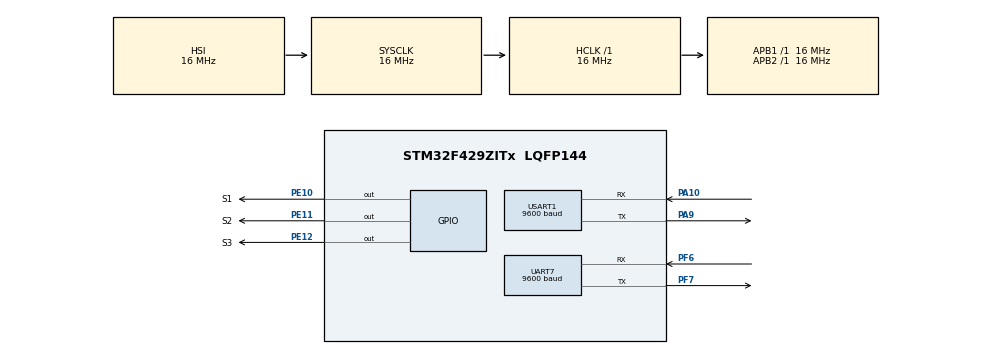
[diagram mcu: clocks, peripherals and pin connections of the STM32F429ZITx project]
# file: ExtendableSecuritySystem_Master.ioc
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Dma.Request0=USART1_RX
Dma.Request1=UART7_RX
Dma.UART7_RX.1.Direction=DMA_PERIPH_TO_MEMORY
Dma.UART7_RX.1.FIFOMode=DMA_FIFOMODE_DISABLE
Dma.UART7_RX.1.Instance=DMA1_Stream3
Dma.UART7_RX.1.MemDataAlignment=DMA_MDATAALIGN_BYTE
Dma.UART7_RX.1.MemInc=DMA_MINC_ENABLE
Dma.UART7_RX.1.Mode=DMA_CIRCULAR
Dma.UART7_RX.1.PeriphDataAlignment=DMA_PDATAALIGN_BYTE
Dma.UART7_RX.1.PeriphInc=DMA_PINC_DISABLE
Dma.UART7_RX.1.Priority=DMA_PRIORITY_LOW
Dma.USART1_RX.0.Direction=DMA_PERIPH_TO_MEMORY
Dma.USART1_RX.0.FIFOMode=DMA_FIFOMODE_DISABLE
Dma.USART1_RX.0.Instance=DMA2_Stream2
Dma.USART1_RX.0.MemDataAlignment=DMA_MDATAALIGN_BYTE
Dma.USART1_RX.0.MemInc=DMA_MINC_ENABLE
Dma.USART1_RX.0.Mode=DMA_CIRCULAR
Dma.USART1_RX.0.PeriphDataAlignment=DMA_PDATAALIGN_BYTE
Dma.USART1_RX.0.PeriphInc=DMA_PINC_DISABLE
Dma.USART1_RX.0.Priority=DMA_PRIORITY_LOW
Mcu.Family=STM32F4
Mcu.Name=STM32F429ZITx
Mcu.Package=LQFP144
NVIC.DMA1_Stream3_IRQn=true\:0\:0\:false\:false\:true\:false
NVIC.DMA2_Stream2_IRQn=true\:0\:0\:false\:false\:true\:false
NVIC.PriorityGroup=NVIC_PRIORITYGROUP_4
PA10.Mode=Asynchronous
PA10.Signal=USART1_RX
PA13.Mode=Serial_Wire
PA13.Signal=SYS_JTMS-SWDIO
PA14.Mode=Serial_Wire
PA14.Signal=SYS_JTCK-SWCLK
PA9.Mode=Asynchronous
PA9.Signal=USART1_TX
PE10.GPIO_Label=S1
PE10.GPIO_ModeDefaultOutputPP=GPIO_MODE_OUTPUT_PP
PE10.GPIO_PuPd=GPIO_NOPULL
PE10.GPIO_Speed=GPIO_SPEED_FREQ_LOW
PE10.PinState=GPIO_PIN_SET
PE10.Signal=GPIO_Output
PE11.GPIO_Label=S2
PE11.GPIO_ModeDefaultOutputPP=GPIO_MODE_OUTPUT_PP
PE11.GPIO_PuPd=GPIO_NOPULL
PE11.GPIO_Speed=GPIO_SPEED_FREQ_LOW
PE11.PinState=GPIO_PIN_SET
PE11.Signal=GPIO_Output
PE12.GPIO_Label=S3
PE12.GPIO_ModeDefaultOutputPP=GPIO_MODE_OUTPUT_PP
PE12.GPIO_PuPd=GPIO_NOPULL
PE12.GPIO_Speed=GPIO_SPEED_FREQ_LOW
PE12.PinState=GPIO_PIN_SET
PE12.Signal=GPIO_Output
PF6.Mode=Asynchronous
PF6.Signal=UART7_RX
PF7.Mode=Asynchronous
PF7.Signal=UART7_TX
PH0/OSC_IN.Mode=HSE-External-Oscillator
PH0/OSC_IN.Signal=RCC_OSC_IN
PH1/OSC_OUT.Mode=HSE-External-Oscillator
PH1/OSC_OUT.Signal=RCC_OSC_OUT
ProjectManager.HeapSize=0x200
ProjectManager.StackSize=0x400
ProjectManager.TargetToolchain=SW4STM32
RCC.48MHZClocksFreq_Value=48000000
RCC.AHBFreq_Value=16000000
RCC.APB1Freq_Value=16000000
RCC.APB1TimFreq_Value=16000000
RCC.APB2Freq_Value=16000000
RCC.APB2TimFreq_Value=16000000
RCC.CortexFreq_Value=16000000
RCC.HCLKFreq_Value=16000000
RCC.HSE_VALUE=25000000
RCC.HSI_VALUE=16000000
RCC.LSE_VALUE=32768
RCC.SYSCLKFreq_VALUE=16000000
RCC.VCOOutputFreq_Value=192000000
UART7.BaudRate=9600
UART7.VirtualMode=Asynchronous
USART1.BaudRate=9600
USART1.VirtualMode=VM_ASYNC
board=custom

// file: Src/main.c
/* USER CODE BEGIN Header */
/**
  ******************************************************************************
  * @file           : main.c
  * @brief          : Main program body
  ******************************************************************************
  ** This notice applies to any and all portions of this file
  * that are not between comment pairs USER CODE BEGIN and
  * USER CODE END. Other portions of this file, whether
  * inserted by the user or by software development tools
  * are owned by their respective copyright owners.
  *
  * COPYRIGHT(c) 2018 STMicroelectronics
  *
  * Redistribution and use in source and binary forms, with or without modification,
  * are permitted provided that the following conditions are met:
  *   1. Redistributions of source code must retain the above copyright notice,
  *      this list of conditions and the following disclaimer.
  *   2. Redistributions in binary form must reproduce the above copyright notice,
  *      this list of conditions and the following disclaimer in the documentation
  *      and/or other materials provided with the distribution.
  *   3. Neither the name of STMicroelectronics nor the names of its contributors
  *      may be used to endorse or promote products derived from this software
  *      without specific prior written permission.
  *
  * THIS SOFTWARE IS PROVIDED BY THE COPYRIGHT HOLDERS AND CONTRIBUTORS "AS IS"
  * AND ANY EXPRESS OR IMPLIED WARRANTIES, INCLUDING, BUT NOT LIMITED TO, THE
  * IMPLIED WARRANTIES OF MERCHANTABILITY AND FITNESS FOR A PARTICULAR PURPOSE ARE
  * DISCLAIMED. IN NO EVENT SHALL THE COPYRIGHT HOLDER OR CONTRIBUTORS BE LIABLE
  * FOR ANY DIRECT, INDIRECT, INCIDENTAL, SPECIAL, EXEMPLARY, OR CONSEQUENTIAL
  * DAMAGES (INCLUDING, BUT NOT LIMITED TO, PROCUREMENT OF SUBSTITUTE GOODS OR
  * SERVICES; LOSS OF USE, DATA, OR PROFITS; OR BUSINESS INTERRUPTION) HOWEVER
  * CAUSED AND ON ANY THEORY OF LIABILITY, WHETHER IN CONTRACT, STRICT LIABILITY,
  * OR TORT (INCLUDING NEGLIGENCE OR OTHERWISE) ARISING IN ANY WAY OUT OF THE USE
  * OF THIS SOFTWARE, EVEN IF ADVISED OF THE POSSIBILITY OF SUCH DAMAGE.
  *
  ******************************************************************************
  */
/* USER CODE END Header */

#include "main.h"

/* USER CODE BEGIN Includes */
#include "FunctionHeaderSTM.h"
/* USER CODE END Includes */

/* USER CODE BEGIN PTD */
#define SPI1_En HAL_GPIO_WritePin(S1_GPIO_Port, S1_Pin, RESET)
#define SPI1_Dis HAL_GPIO_WritePin(S1_GPIO_Port, S1_Pin, SET)

#define SPI2_En HAL_GPIO_WritePin(S2_GPIO_Port, S2_Pin, RESET)
#define SPI2_Dis HAL_GPIO_WritePin(S2_GPIO_Port, S2_Pin, SET)

#define SPI3_En HAL_GPIO_WritePin(S3_GPIO_Port, S3_Pin, RESET)
#define SPI3_Dis HAL_GPIO_WritePin(S3_GPIO_Port, S3_Pin, SET)
/* USER CODE END PTD */

UART_HandleTypeDef huart7;
UART_HandleTypeDef huart1;
DMA_HandleTypeDef hdma_uart7_rx;
DMA_HandleTypeDef hdma_usart1_rx;

/* USER CODE BEGIN PV */
/* Private variables ---------------------------------------------------------*/

/* USER CODE END PV */

void SystemClock_Config(void);
static void MX_GPIO_Init(void);
static void MX_DMA_Init(void);
static void MX_USART1_UART_Init(void);
static void MX_UART7_Init(void);
/* USER CODE BEGIN PFP */
/* Private function prototypes -----------------------------------------------*/
extern void Slave_Enable(uint8_t number);
extern void Slave_Disable(uint8_t number);
extern void DMA2S2_Func(uart_data data);
/* USER CODE END PFP */

int main(void)
{

  /* MCU Configuration--------------------------------------------------------*/

  /* Reset of all peripherals, Initializes the Flash interface and the Systick. */
  HAL_Init();

  /* Configure the system clock */
  SystemClock_Config();

  /* Initialize all configured peripherals */
  MX_GPIO_Init();
  MX_DMA_Init();
  MX_USART1_UART_Init();
  MX_UART7_Init();
  /* USER CODE BEGIN 2 */
  HAL_UART_Receive_DMA(&huart1, (uint8_t*)&uart_receive,4);
  HAL_UART_Receive_DMA(&huart7, (uint8_t*)&uart_slave_receive,4);
  /* USER CODE END 2 */

  /* Infinite loop */
  /* USER CODE BEGIN WHILE */
  uint8_t rubbish[]={0,0,0};
  HAL_UART_Transmit(&huart7, (uint8_t*)&rubbish[0],3, 200);
  while (1)
  {
    /* USER CODE END WHILE */

  }
}

void SystemClock_Config(void)
{
  RCC_OscInitTypeDef RCC_OscInitStruct = {0};
  RCC_ClkInitTypeDef RCC_ClkInitStruct = {0};

  /**Configure the main internal regulator output voltage
  */
  __HAL_RCC_PWR_CLK_ENABLE();
  __HAL_PWR_VOLTAGESCALING_CONFIG(PWR_REGULATOR_VOLTAGE_SCALE3);
  /**Initializes the CPU, AHB and APB busses clocks
  */
  RCC_OscInitStruct.OscillatorType = RCC_OSCILLATORTYPE_HSI;
  RCC_OscInitStruct.HSIState = RCC_HSI_ON;
  RCC_OscInitStruct.HSICalibrationValue = RCC_HSICALIBRATION_DEFAULT;
  RCC_OscInitStruct.PLL.PLLState = RCC_PLL_NONE;
  if (HAL_RCC_OscConfig(&RCC_OscInitStruct) != HAL_OK)
  {
    Error_Handler();
  }
  /**Initializes the CPU, AHB and APB busses clocks
  */
  RCC_ClkInitStruct.ClockType = RCC_CLOCKTYPE_HCLK|RCC_CLOCKTYPE_SYSCLK
                              |RCC_CLOCKTYPE_PCLK1|RCC_CLOCKTYPE_PCLK2;
  RCC_ClkInitStruct.SYSCLKSource = RCC_SYSCLKSOURCE_HSI;
  RCC_ClkInitStruct.AHBCLKDivider = RCC_SYSCLK_DIV1;
  RCC_ClkInitStruct.APB1CLKDivider = RCC_HCLK_DIV1;
  RCC_ClkInitStruct.APB2CLKDivider = RCC_HCLK_DIV1;

  if (HAL_RCC_ClockConfig(&RCC_ClkInitStruct, FLASH_LATENCY_0) != HAL_OK)
  {
    Error_Handler();
  }
}

static void MX_UART7_Init(void)
{

  huart7.Instance = UART7;
  huart7.Init.BaudRate = 9600;
  huart7.Init.WordLength = UART_WORDLENGTH_8B;
  huart7.Init.StopBits = UART_STOPBITS_1;
  huart7.Init.Parity = UART_PARITY_NONE;
  huart7.Init.Mode = UART_MODE_TX_RX;
  huart7.Init.HwFlowCtl = UART_HWCONTROL_NONE;
  huart7.Init.OverSampling = UART_OVERSAMPLING_16;
  if (HAL_UART_Init(&huart7) != HAL_OK)
  {
    Error_Handler();
  }

}

static void MX_USART1_UART_Init(void)
{

  huart1.Instance = USART1;
  huart1.Init.BaudRate = 9600;
  huart1.Init.WordLength = UART_WORDLENGTH_8B;
  huart1.Init.StopBits = UART_STOPBITS_1;
  huart1.Init.Parity = UART_PARITY_NONE;
  huart1.Init.Mode = UART_MODE_TX_RX;
  huart1.Init.HwFlowCtl = UART_HWCONTROL_NONE;
  huart1.Init.OverSampling = UART_OVERSAMPLING_16;
  if (HAL_UART_Init(&huart1) != HAL_OK)
  {
    Error_Handler();
  }

}

static void MX_DMA_Init(void)
{
  /* DMA controller clock enable */
  __HAL_RCC_DMA2_CLK_ENABLE();
  __HAL_RCC_DMA1_CLK_ENABLE();

  /* DMA interrupt init */
  /* DMA1_Stream3_IRQn interrupt configuration */
  HAL_NVIC_SetPriority(DMA1_Stream3_IRQn, 0, 0);
  HAL_NVIC_EnableIRQ(DMA1_Stream3_IRQn);
  /* DMA2_Stream2_IRQn interrupt configuration */
  HAL_NVIC_SetPriority(DMA2_Stream2_IRQn, 0, 0);
  HAL_NVIC_EnableIRQ(DMA2_Stream2_IRQn);

}

static void MX_GPIO_Init(void)
{
  GPIO_InitTypeDef GPIO_InitStruct = {0};

  /* GPIO Ports Clock Enable */
  __HAL_RCC_GPIOF_CLK_ENABLE();
  __HAL_RCC_GPIOH_CLK_ENABLE();
  __HAL_RCC_GPIOE_CLK_ENABLE();
  __HAL_RCC_GPIOA_CLK_ENABLE();

  /*Configure GPIO pin Output Level */
  HAL_GPIO_WritePin(GPIOE, S1_Pin|S2_Pin|S3_Pin, GPIO_PIN_SET);

  /*Configure GPIO pins : S1_Pin S2_Pin S3_Pin */
  GPIO_InitStruct.Pin = S1_Pin|S2_Pin|S3_Pin;
  GPIO_InitStruct.Mode = GPIO_MODE_OUTPUT_PP;
  GPIO_InitStruct.Pull = GPIO_NOPULL;
  GPIO_InitStruct.Speed = GPIO_SPEED_FREQ_LOW;
  HAL_GPIO_Init(GPIOE, &GPIO_InitStruct);

}

/* USER CODE BEGIN 4 */
void Slave_Enable(uint8_t number){
	switch(number){
    case 1:
      SPI1_En;
      break;
    case 2:
      SPI2_En;
      break;
    case 3:
      SPI3_En;
      break;
  }
}

void Slave_Disable(uint8_t number){
  switch(number){
    case 1:
      SPI1_Dis;
      break;
    case 2:
      SPI2_Dis;
      break;
    case 3:
      SPI3_Dis;
      break;
  }
}

void DMA2S2_Func(uart_data data){
	Slave_Enable(uart_receive[0]);
	HAL_UART_Transmit(&huart7, (uint8_t*)&uart_receive[1], 3,500);
	HAL_UART_Transmit(&huart7, (uint8_t*)&uart_receive[1], 3,500);

	Slave_Disable(uart_receive[0]);
}
/* USER CODE END 4 */

void Error_Handler(void)
{
  while(1)
  {
  }
}

/************************ (C) COPYRIGHT STMicroelectronics *****END OF FILE****/
